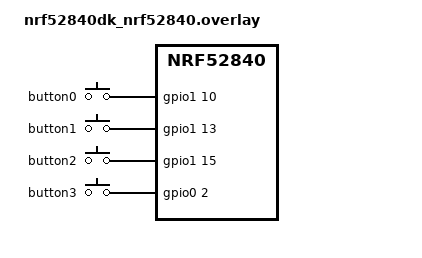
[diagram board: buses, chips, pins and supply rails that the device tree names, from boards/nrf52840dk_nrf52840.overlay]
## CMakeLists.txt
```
# SPDX-License-Identifier: Apache-2.0

cmake_minimum_required(VERSION 3.20.0)
find_package(Zephyr REQUIRED HINTS $ENV{ZEPHYR_BASE})
project(iso_broadcast)

target_sources(app PRIVATE
    src/main.c
    src/ble.c
)
```

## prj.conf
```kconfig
CONFIG_LOG=y

CONFIG_BT=y
CONFIG_BT_DEVICE_NAME="Test ISO Broadcaster"
CONFIG_BT_CTLR_TX_PWR_PLUS_8=y
# CONFIG_BT_CTLR_PHY_CODED=y

CONFIG_BT_ISO_BROADCASTER=y
CONFIG_BT_ISO_MAX_CHAN=2
CONFIG_BT_ISO_TX_BUF_COUNT=4

# Just needs to send a uint32_t value
CONFIG_BT_ISO_TX_MTU=4
```

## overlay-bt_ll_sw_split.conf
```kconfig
CONFIG_BT_CTLR_ADV_ISO=y
CONFIG_BT_CTLR_ADV_ISO_PDU_LEN_MAX=4
CONFIG_BT_CTLR_ADV_ISO_STREAM_MAX=2

CONFIG_BT_CTLR_ISOAL_SOURCES=2

# FIXME: Host needs CONFIG_BT_ISO_TX_MTU + 4 bytes for sequence number, and
# optionally additional + 4 bytes for timestamp when not using
# BT_ISO_TIMESTAMP_NONE in bt_iso_chan_send(), otherwise Host tries to fragment
# ISO data.
# When Host is fixed, CONFIG_BT_CTLR_ISO_TX_BUFFER_SIZE can inherit the
# CONFIG_BT_ISO_TX_MTU value.
CONFIG_BT_CTLR_ISO_TX_BUFFER_SIZE=12

# CONFIG_BT_CTLR_ISOAL_SN_STRICT=n
```

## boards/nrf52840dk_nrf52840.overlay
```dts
/ {
    aliases {
		/delete-property/ sw0;
		/delete-property/ sw1;
		/delete-property/ sw2;
		/delete-property/ sw3;

    ttl-reverse = &button0;
    ttl-break = &button1;
    ttl-tleft = &button2;
    ttl-tright = &button3;
	};
};

/*
 * Only active this change only if you would like to test with the GPIO pins instead of the buttons on the DK.
 */
&button0 {
  gpios = < &gpio1 10 (GPIO_ACTIVE_HIGH | GPIO_PULL_DOWN)>;
  /delete-property/ zephyr,code;
};

&button1 {
  gpios = < &gpio1 13 (GPIO_ACTIVE_HIGH | GPIO_PULL_DOWN)>;
  /delete-property/ zephyr,code;
};

&button2 {
  gpios = < &gpio1 15 (GPIO_ACTIVE_HIGH | GPIO_PULL_DOWN)>;
  /delete-property/ zephyr,code;
};

&button3 {
  gpios = < &gpio0 2 (GPIO_ACTIVE_HIGH | GPIO_PULL_DOWN)>;
  /delete-property/ zephyr,code;
};
```

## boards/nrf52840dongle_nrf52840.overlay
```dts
/ {
    aliases {
		/delete-property/ sw0;
		/delete-property/ sw1;
		/delete-property/ sw2;
		/delete-property/ sw3;
    /delete-property/ mcuboot-button0;

    ttl-break = &button0;
    ttl-tleft = &button1;
    ttl-tright = &button2;
	};
};

/* Define buttons -> light sniffing gpios */
/ {
  /delete-node/ buttons;

  buttons {
		compatible = "gpio-keys";
		button0: button_0 {
			gpios = < &gpio0 22 (GPIO_ACTIVE_HIGH | GPIO_PULL_DOWN)>;
		};
  
    button1: button1 {
      gpios = < &gpio0 24 (GPIO_ACTIVE_HIGH | GPIO_PULL_DOWN)>;
    };

    button2: button2 {
      gpios = < &gpio1 0 (GPIO_ACTIVE_HIGH | GPIO_PULL_DOWN)>;
    };

	};
};
```

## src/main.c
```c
#include <zephyr/kernel.h>
#include <zephyr/logging/log.h>

#include "ble.h"
#include "gpio.h"
#include "ttl.h"

LOG_MODULE_REGISTER(ttl_main, LOG_LEVEL_INF);

int main(void) {
  int err = 0;
  LOG_INF("Starting TTLight Controller\n");

  err = ttl_ble_init();
  if (TTL_OK != err) {
    LOG_ERR("Failed to initialize the TTLight BLE stack\n");
  }

  err = ttl_gpio_init();
  if (TTL_OK != err) {
    LOG_ERR("Failed to initialize the TTLight GPIO stack\n");
  }
  ttl_gpio_register_cb(ttl_ble_upd_status);

  return 0;
}
```

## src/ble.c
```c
/*
 * Copyright (c) 2021 Nordic Semiconductor ASA
 *
 * SPDX-License-Identifier: Apache-2.0
 */

#include <zephyr/bluetooth/bluetooth.h>
#include <zephyr/bluetooth/iso.h>
#include <zephyr/logging/log.h>
#include <zephyr/sys/byteorder.h>

#include "ttl.h"

LOG_MODULE_REGISTER(ttl_ble, LOG_LEVEL_INF);

#define BUF_ALLOC_TIMEOUT (10)                       /* milliseconds */
#define BIG_TERMINATE_TIMEOUT_US (60 * USEC_PER_SEC) /* microseconds */
#define BIG_SDU_INTERVAL_US (10000)

NET_BUF_POOL_FIXED_DEFINE(bis_tx_pool, 1,
                          BT_ISO_SDU_BUF_SIZE(CONFIG_BT_ISO_TX_MTU),
                          CONFIG_BT_CONN_TX_USER_DATA_SIZE, NULL);

static K_SEM_DEFINE(sem_big_cmplt, 0, 1);
static K_SEM_DEFINE(sem_big_term, 0, 1);
static K_SEM_DEFINE(sem_iso_data, CONFIG_BT_ISO_TX_BUF_COUNT,
                    CONFIG_BT_ISO_TX_BUF_COUNT);

static uint8_t running;
static uint16_t seq_num;
static ttl_state_t ttl_state;
static K_SEM_DEFINE(sem_ttl_state, 1, 1);
static uint8_t iso_data[sizeof(ttl_state)] = {0};

// ttl ble thread objects
#define TTL_BLE_STACK_SIZE (2048)
static K_KERNEL_STACK_DEFINE(ttl_ble_thread_stack, TTL_BLE_STACK_SIZE);
static struct k_thread ttl_ble_thread_data;

static void iso_connected(struct bt_iso_chan *chan) {
  LOG_INF("ISO Channel %p connected", chan);
  seq_num = 0U;
  k_sem_give(&sem_big_cmplt);
}

static void iso_disconnected(struct bt_iso_chan *chan, uint8_t reason) {
  LOG_INF("ISO Channel %p disconnected with reason 0x%02x", chan, reason);
  k_sem_give(&sem_big_term);
}

static void iso_sent(struct bt_iso_chan *chan) { k_sem_give(&sem_iso_data); }

static struct bt_iso_chan_ops iso_ops = {
    .connected = iso_connected,
    .disconnected = iso_disconnected,
    .sent = iso_sent,
};

static struct bt_iso_chan_io_qos iso_tx_qos = {
    .sdu = sizeof(uint32_t), /* bytes */
    .rtn = 1,
    .phy = BT_GAP_LE_PHY_2M,
};

static struct bt_iso_chan_qos bis_iso_qos = {
    .tx = &iso_tx_qos,
};

static struct bt_iso_chan bis_iso_chan = {
    .ops = &iso_ops,
    .qos = &bis_iso_qos,
};

static struct bt_iso_chan *bis[] = {&bis_iso_chan};

static struct bt_iso_big_create_param big_create_param = {
    .num_bis = 1,
    .bis_channels = bis,
    .interval = BIG_SDU_INTERVAL_US, /* in microseconds */
    .latency = 10,                   /* in milliseconds */
    .packing = 0,                    /* 0 - sequential, 1 - interleaved */
    .framing = 0,                    /* 0 - unframed, 1 - framed */
};

static int ttl_ble_enable() {
  struct bt_le_ext_adv *adv;
  struct bt_iso_big *big;
  int err;

  LOG_INF("Starting to initiate BLE stack for TTLight");

  /* Initialize the Bluetooth Subsystem */
  err = bt_enable(NULL);
  if (err) {
    LOG_ERR("Bluetooth init failed (err %d)", err);
    return TTL_ERR;
  }
  // err = bt_le_ext_adv_create(BT_LE_EXT_ADV_CODED_NCONN_NAME, NULL, &adv);
  /* Create a non-connectable non-scannable advertising set */
  err = bt_le_ext_adv_create(BT_LE_EXT_ADV_NCONN_NAME, NULL, &adv);
  if (err) {
    LOG_ERR("Failed to create advertising set (err %d)", err);
    return TTL_ERR;
  }

  /* Set periodic advertising parameters */
  err = bt_le_per_adv_set_param(adv, BT_LE_PER_ADV_DEFAULT);
  if (err) {
    LOG_ERR("Failed to set periodic advertising parameters (err %d)", err);
    return TTL_ERR;
  }

  /* Enable Periodic Advertising */
  err = bt_le_per_adv_start(adv);
  if (err) {
    LOG_ERR("Failed to enable periodic advertising (err %d)", err);
    return TTL_ERR;
  }

  /* Start extended advertising */
  err = bt_le_ext_adv_start(adv, BT_LE_EXT_ADV_START_DEFAULT);
  if (err) {
    LOG_ERR("Failed to start extended advertising (err %d)", err);
    return TTL_ERR;
  }

  /* Create BIG */
  err = bt_iso_big_create(adv, &big_create_param, &big);
  if (err) {
    LOG_ERR("Failed to create BIG (err %d)", err);
    return TTL_ERR;
  }

  LOG_INF("Waiting for BIG complete chan...");
  err = k_sem_take(&sem_big_cmplt, K_FOREVER);
  if (err) {
    LOG_ERR("failed (err %d)", err);
    return TTL_ERR;
  }
  LOG_INF("BIG create complete chan.\n");

  return TTL_OK;
}

static int ttl_ble_broadcast() {
  while (running) {
    struct net_buf *buf;
    int ret;

    buf = net_buf_alloc(&bis_tx_pool, K_MSEC(BUF_ALLOC_TIMEOUT));
    if (!buf) {
      printk("Data buffer allocate timeout on channel");
      return 0;
    }

    ret = k_sem_take(&sem_iso_data, K_FOREVER);
    if (ret) {
      printk("k_sem_take for ISO data sent failed\n");
      net_buf_unref(buf);
      return 0;
    }

    net_buf_reserve(buf, BT_ISO_CHAN_SEND_RESERVE);
    // NOTE: we do not check the error code, because it anyway waits FOREVER
    k_sem_take(&sem_ttl_state, K_FOREVER);
    sys_put_le32(ttl_state.entire, iso_data);
    k_sem_give(&sem_ttl_state);
    net_buf_add_mem(buf, iso_data, sizeof(iso_data));

    ret = bt_iso_chan_send(&bis_iso_chan, buf, seq_num, BT_ISO_TIMESTAMP_NONE);
    if (ret < 0) {
      printk("Unable to broadcast data on channel with error code: %d", ret);
      net_buf_unref(buf);
      return 0;
    }

    LOG_DBG("Sending value %d\n", ttl_state.entire);
    seq_num++;
  }

  return TTL_OK;
}

static void ttl_ble_thread_main() {
  int ret = 0;
  LOG_INF("TTLight starts to initiate the BLE Stack");
  ret = ttl_ble_enable();
  if (TTL_OK != ret) {
    LOG_ERR("Failed to initiate the TTLight BLE stack");
    return;
  }
  LOG_INF("TTLight started the BLE Stack successfully");

  LOG_INF("TTLight starts to broadcast current state");
  ret = ttl_ble_broadcast();
  if (TTL_OK != ret) {
    LOG_ERR("Failed to broadcast the current TTLight BLE state");
    return;
  }
  LOG_INF("TTLight finished to broadcast current state");

  return;
}

int ttl_ble_init() {
  running = 1;
  /* Start a thread to offload disk ops */
  k_thread_create(&ttl_ble_thread_data, ttl_ble_thread_stack,
                  TTL_BLE_STACK_SIZE, (k_thread_entry_t)ttl_ble_thread_main,
                  NULL, NULL, NULL, -5, 0, K_NO_WAIT);
  k_thread_name_set(&ttl_ble_thread_data, "ttl_ble_worker");

  return TTL_OK;
}

int ttl_ble_upd_status(ttl_state_t state) {
  if (state.entire != ttl_state.entire) {
    LOG_INF("Updated TTLight state to:");
    PRINT_TTL_STATE(state);

    k_sem_take(&sem_ttl_state, K_FOREVER);
    ttl_state = state;
    k_sem_give(&sem_ttl_state);
  }

  return TTL_OK;
}
```

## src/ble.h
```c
#ifndef BLE_H
#define BLE_H

#include "ttl.h"

/**
 * @brief Enable the TTLight BLE stack
 * This will enable the entire BLE with ISO stack
 * and initialize a new BIS and starts sending the current
 * ttl state to the receivers
 */
int ttl_ble_init();

/**
 * @brief Small helper function to update the current
 * ttl state variable. After the call, the BLE stack
 * will broadcast the updated status value
 */
int ttl_ble_upd_status(ttl_state_t state);

#endif
```

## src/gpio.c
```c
#include <zephyr/drivers/gpio.h>
#include <zephyr/kernel.h>
#include <zephyr/logging/log.h>

#include "gpio.h"

LOG_MODULE_REGISTER(ttl_gpio, LOG_LEVEL_INF);

// ttl gpio thread objects
#define TTL_GPIO_STACK_SIZE (2048)
static K_KERNEL_STACK_DEFINE(ttl_gpio_thread_stack, TTL_GPIO_STACK_SIZE);
static struct k_thread ttl_gpio_thread_data;

// ttl gpio hardware mapping
enum GPIO_MAPPING { BREAK = 0, TURN_LEFT, TURN_RIGHT };
static const struct gpio_dt_spec gpios[] = {
    GPIO_DT_SPEC_GET_OR(DT_ALIAS(ttl_break), gpios, {0}),
    GPIO_DT_SPEC_GET_OR(DT_ALIAS(ttl_tleft), gpios, {0}),
    GPIO_DT_SPEC_GET_OR(DT_ALIAS(ttl_tright), gpios, {0})};

// ttl gpio runtime variables
#define TTL_GPIO_VALUES_LEN 3
static uint8_t running;
static uint8_t values[TTL_GPIO_VALUES_LEN];
static ttl_state_t ttl_state;
static ttl_upd_state_cb_t ttl_gpio_upd_state_cb;

static void ttl_gpio_map_state() {
  ttl_state.entire = 0;
  ttl_state.parts.magic = 0x27;
  ttl_state.parts.reserved = 0x11;

  ttl_state.parts.bits.breaks = values[BREAK] & 0x01;
  ttl_state.parts.bits.lturn = values[TURN_LEFT] & 0x01;
  ttl_state.parts.bits.rturn = values[TURN_RIGHT] & 0x01;
  ttl_state.parts.bits.ldrive = 1;
  ttl_state.parts.bits.rdrive = 1;
  // TODO: not supported yet
  ttl_state.parts.bits.reverse = 0;
  ttl_state.parts.bits.fog = 0;
}

static int ttl_gpio_enable() {
  int ret = 0;

  memset(values, 0, ARRAY_SIZE(values));
  if (!device_is_ready(gpios[BREAK].port)) {
    LOG_ERR("GPIO port %s is not ready", gpios[BREAK].port->name);
    return TTL_ERR;
  }

  LOG_INF("GPIO port is ready, configure all the pins properly.");
  for (uint8_t i = 0; i < ARRAY_SIZE(gpios); i++) {
    ret = gpio_pin_configure_dt(&gpios[i], GPIO_INPUT);
    if (ret) {
      LOG_ERR("Failed to configure gpio pin: %d\n", gpios[i].pin);
      return TTL_ERR;
    }
  }

  return TTL_OK;
}

static int ttl_gpio_upd_state() {
  if (ttl_gpio_upd_state_cb) {
    return (*ttl_gpio_upd_state_cb)(ttl_state);
  }
  return TTL_OK;
}

static void ttl_gpio_poll_port() {
  for (uint8_t i = 0; i < ARRAY_SIZE(gpios); i++) {
    values[i] = gpio_pin_get_dt(&gpios[i]);
  }
}

static int ttl_gpio_poll() {
  int ret;
  while (running) {
    ttl_gpio_poll_port();
    LOG_DBG("Polled current ttl gpio values:[%d,%d,%d]", values[0], values[1],
            values[2]);

    ttl_gpio_map_state();

    ret = ttl_gpio_upd_state();
    if (TTL_OK != ret) {
      LOG_ERR("Failed to update current polled state");
      continue;
    }

    k_msleep(TTL_POLLING_INTERVAL_MS);
  }

  return TTL_OK;
}

static void ttl_gpio_thread_main() {
  int ret = 0;
  LOG_INF("TTLight starts to initiate the GPIO Stack");
  ret = ttl_gpio_enable();
  if (TTL_OK != ret) {
    LOG_ERR("Failed to initiate the TTLight GPIO stack");
    return;
  }
  LOG_INF("TTLight started the GPIO Stack successfully");

  LOG_INF("TTLight starts to poll current GPIO state");
  ret = ttl_gpio_poll();
  if (TTL_OK != ret) {
    LOG_ERR("Failed to poll the current TTLight GPIO state");
    return;
  }
  LOG_INF("TTLight finished to poll current GPIO state");

  return;
}

void ttl_gpio_register_cb(ttl_upd_state_cb_t cb) {
  if (cb) {
    ttl_gpio_upd_state_cb = cb;
  }
}

int ttl_gpio_init() {
  running = 1;
  ttl_gpio_upd_state_cb = NULL;
  ttl_state.entire = 0;
  /* Start a thread to offload disk ops */
  k_thread_create(&ttl_gpio_thread_data, ttl_gpio_thread_stack,
                  TTL_GPIO_STACK_SIZE, (k_thread_entry_t)ttl_gpio_thread_main,
                  NULL, NULL, NULL, -5, 0, K_NO_WAIT);
  k_thread_name_set(&ttl_gpio_thread_data, "ttl_ble_worker");

  return TTL_OK;
}
```

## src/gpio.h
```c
#ifndef GPIO_H
#define GPIO_H

#include "ttl.h"

/**
 * @brief Enable the TTLight GPIO stack
 * This function initiates the GPIO port
 * and starts to poll the current state
 */
int ttl_gpio_init();

/**
 * @brief Register callback function which should be get triggered once the
 * internal ttl state changes.
 * @param[in] cb - callback to execute on ttl state changes
 */
void ttl_gpio_register_cb(ttl_upd_state_cb_t cb);

#endif
```

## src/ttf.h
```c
#ifndef TTF_H
#define TTF_H

#include "inttypes.h"

#define TTF_OK (0)
#define TTF_ERR (-1)

typedef uint32_t ttf_state_t;

#endif
```

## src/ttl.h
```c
#ifndef TTL_H
#define TTL_H

#include "inttypes.h"

#define TTL_OK (0)
#define TTL_ERR (-1)

#define TTL_POLLING_INTERVAL_MS (50)

/**
 * @brief TTL light states
 */
typedef union {
  uint32_t entire;
  struct __attribute__((__packed__)) {
    uint8_t magic;
    uint8_t reserved;
    struct __attribute__((__packed__)) {
      uint16_t reverse : 1; // ???
      uint16_t breaks : 1;  // rot/54
      uint16_t lturn : 1;   // yellow/L
      uint16_t rturn : 1;   // green/R
      uint16_t ldrive : 1;  // black/58L
      uint16_t rdrive : 1;  // gray/58R
      uint16_t fog : 1;     // blue/54G
      uint16_t reserved : 9;
    } bits;
  } parts;
} ttl_state_t;

typedef int (*ttl_upd_state_cb_t)(ttl_state_t);

#define PRINT_TTL_STATE(state)                                                 \
  LOG_INF("TTLight State: {magic: 0x%x, breaks: %d, lturn: %d, rturn: %d, "    \
          "reverse: %d, ldrive: %d, rdrive: %d}",                              \
          state.parts.magic, state.parts.bits.breaks, state.parts.bits.lturn,  \
          state.parts.bits.rturn, state.parts.bits.reverse,                    \
          state.parts.bits.ldrive, state.parts.bits.rdrive);
#endif
```
